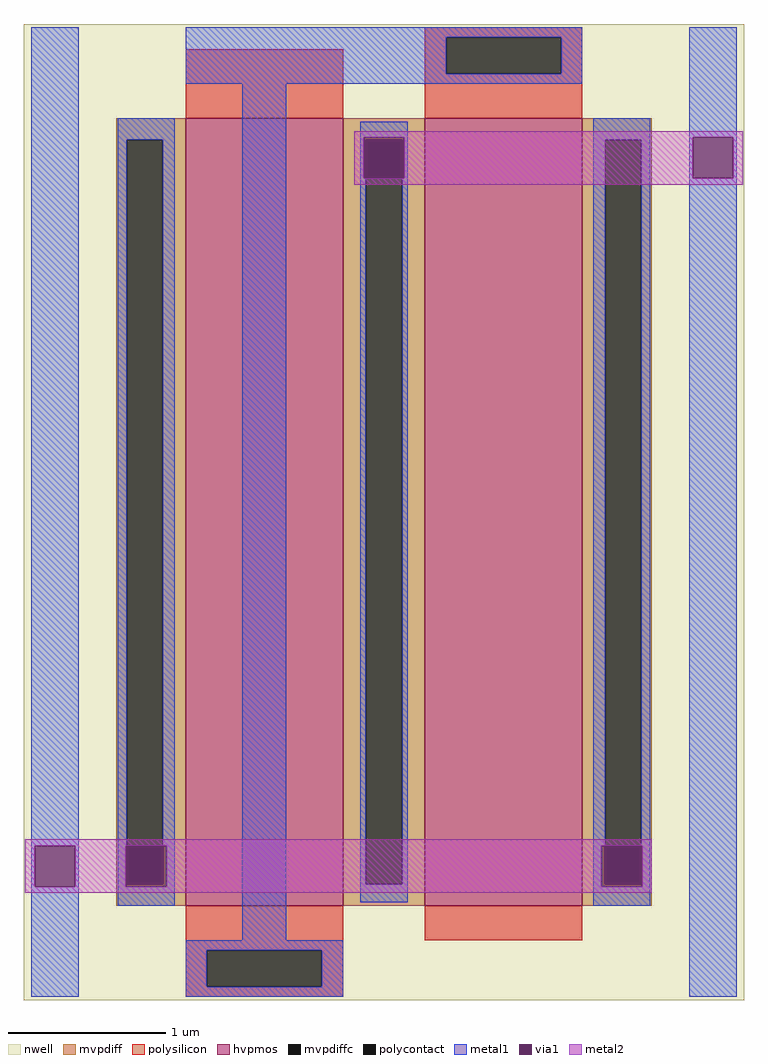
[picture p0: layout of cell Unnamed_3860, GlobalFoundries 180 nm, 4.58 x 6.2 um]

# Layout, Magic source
magic
tech gf180mcuD
magscale 1 10
<< nwell >>
rect -192 -120 724 1120
<< hvpmos >>
rect 14 0 214 1000
rect 318 0 518 1000
<< mvpdiff >>
rect -74 973 14 1000
rect -74 27 -61 973
rect -15 27 14 973
rect -74 0 14 27
rect 214 973 318 1000
rect 214 27 243 973
rect 289 27 318 973
rect 214 0 318 27
rect 518 973 606 1000
rect 518 27 547 973
rect 593 27 606 973
rect 518 0 606 27
<< mvpdiffc >>
rect -61 27 -15 973
rect 243 27 289 973
rect 547 27 593 973
<< polysilicon >>
rect 318 1103 518 1116
rect 14 1000 214 1088
rect 318 1057 345 1103
rect 491 1057 518 1103
rect 318 1000 518 1057
rect 14 -57 214 0
rect 318 -44 518 0
rect 14 -103 41 -57
rect 187 -103 214 -57
rect 14 -116 214 -103
<< polycontact >>
rect 345 1057 491 1103
rect 41 -103 187 -57
<< metal1 >>
rect -182 76 -122 1116
rect 14 1103 518 1116
rect 14 1057 345 1103
rect 491 1057 518 1103
rect 14 1044 518 1057
rect -182 24 -178 76
rect -126 24 -122 76
rect -182 -116 -122 24
rect -72 973 0 1000
rect -72 76 -61 973
rect -15 76 0 973
rect -72 24 -62 76
rect -10 24 0 76
rect -72 0 0 24
rect 86 -44 142 1044
rect 236 976 296 996
rect 236 924 240 976
rect 292 924 296 976
rect 236 27 243 924
rect 289 27 296 924
rect 236 4 296 27
rect 532 973 604 1000
rect 532 76 547 973
rect 593 76 604 973
rect 532 24 542 76
rect 594 24 604 76
rect 532 0 604 24
rect 654 976 714 1116
rect 654 924 658 976
rect 710 924 714 976
rect 14 -57 214 -44
rect 14 -103 41 -57
rect 187 -103 214 -57
rect 14 -116 214 -103
rect 654 -116 714 924
<< via1 >>
rect -178 24 -126 76
rect -62 27 -61 76
rect -61 27 -15 76
rect -15 27 -10 76
rect -62 24 -10 27
rect 240 973 292 976
rect 240 924 243 973
rect 243 924 289 973
rect 289 924 292 973
rect 542 27 547 76
rect 547 27 593 76
rect 593 27 594 76
rect 542 24 594 27
rect 658 924 710 976
<< metal2 >>
rect 228 976 722 984
rect 228 924 240 976
rect 292 924 658 976
rect 710 924 722 976
rect 228 916 722 924
rect -190 76 606 84
rect -190 24 -178 76
rect -126 24 -62 76
rect -10 24 542 76
rect 594 24 606 76
rect -190 16 606 24
<< end >>
